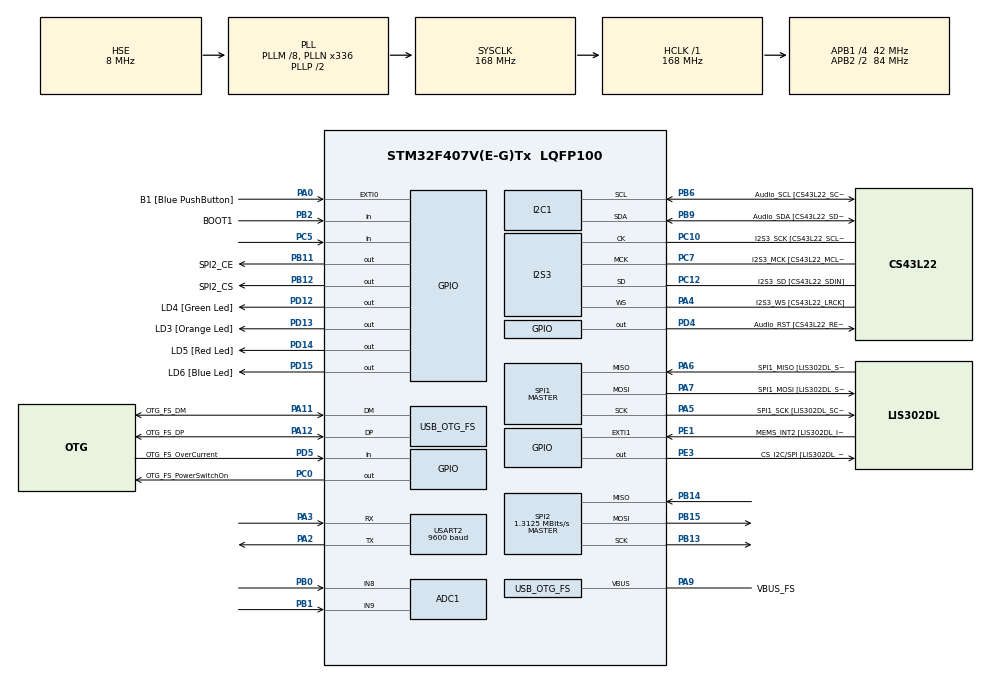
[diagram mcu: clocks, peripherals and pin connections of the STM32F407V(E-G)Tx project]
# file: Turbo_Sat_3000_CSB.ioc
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ADC1.Channel-0\#ChannelRegularConversion=ADC_CHANNEL_9
ADC1.NbrOfConversionFlag=1
ADC1.Rank-0\#ChannelRegularConversion=1
ADC1.SamplingTime-0\#ChannelRegularConversion=ADC_SAMPLETIME_3CYCLES
ADC1.master=1
ADC2.Channel-0\#ChannelRegularConversion=ADC_CHANNEL_8
ADC2.NbrOfConversionFlag=1
ADC2.Rank-0\#ChannelRegularConversion=1
ADC2.SamplingTime-0\#ChannelRegularConversion=ADC_SAMPLETIME_3CYCLES
FREERTOS.Tasks01=Task_Idle,-3,128,Idle_App,Default,NULL,Dynamic,NULL,NULL;Task_SPI_Rx,0,256,SPI_Rx_App,Default,NULL,Dynamic,NULL,NULL;Task_UART_Send,0,256,UART_Send_App,Default,NULL,Dynamic,NULL,NULL;Task_UART_Recie,1,128,UART_Recie_App,Default,NULL,Dynamic,NULL,NULL;Task_SPI_Tx,1,128,SPI_Tx_App,Default,NULL,Dynamic,NULL,NULL
FREERTOS.configUSE_NEWLIB_REENTRANT=1
I2S3.AudioFreq-Half_Duplex_Master=I2S_AUDIOFREQ_96K
I2S3.ErrorAudioFreq=-2.34 %
I2S3.ErrorAudioFreq-Half_Duplex_Master=0.8 %
I2S3.FullDuplexMode=I2S_FULLDUPLEXMODE_DISABLE
I2S3.Instance=SPI$Index
I2S3.RealAudioFreq=93.75 KHz
I2S3.RealAudioFreq-Half_Duplex_Master=96.774 KHz
I2S3.VirtualMode=I2S_MODE_MASTER
Mcu.Family=STM32F4
Mcu.Name=STM32F407V(E-G)Tx
Mcu.Package=LQFP100
NVIC.OTG_FS_IRQn=true\:5\:0\:false\:false\:true\:true\:true\:true\:true
NVIC.PriorityGroup=NVIC_PRIORITYGROUP_4
NVIC.TIM6_DAC_IRQn=true\:15\:0\:false\:false\:true\:false\:false\:true\:true
NVIC.TimeBase=TIM6_DAC_IRQn
NVIC.TimeBaseIP=TIM6
PA0-WKUP.GPIO_Label=B1 [Blue PushButton]
PA0-WKUP.GPIO_ModeDefaultEXTI=GPIO_MODE_EVT_RISING
PA0-WKUP.GPIO_PuPd=GPIO_NOPULL
PA0-WKUP.Signal=GPXTI0
PA10.GPIO_Label=OTG_FS_ID
PA10.GPIO_Mode=GPIO_MODE_AF_PP
PA10.GPIO_PuPd=GPIO_NOPULL
PA10.GPIO_Speed=GPIO_SPEED_FREQ_LOW
PA10.Signal=USB_OTG_FS_ID
PA11.GPIO_Label=OTG_FS_DM
PA11.GPIO_Mode=GPIO_MODE_AF_PP
PA11.GPIO_PuPd=GPIO_NOPULL
PA11.GPIO_Speed=GPIO_SPEED_FREQ_LOW
PA11.Mode=Host_Only
PA11.Signal=USB_OTG_FS_DM
PA12.GPIO_Label=OTG_FS_DP
PA12.GPIO_Mode=GPIO_MODE_AF_PP
PA12.GPIO_PuPd=GPIO_NOPULL
PA12.GPIO_Speed=GPIO_SPEED_FREQ_LOW
PA12.Mode=Host_Only
PA12.Signal=USB_OTG_FS_DP
PA13.GPIO_Label=SWDIO
PA13.Mode=Serial_Wire
PA13.Signal=SYS_JTMS-SWDIO
PA14.GPIO_Label=SWCLK
PA14.Mode=Serial_Wire
PA14.Signal=SYS_JTCK-SWCLK
PA2.Mode=Asynchronous
PA2.Signal=USART2_TX
PA3.Mode=Asynchronous
PA3.Signal=USART2_RX
PA4.GPIO_Label=I2S3_WS [CS43L22_LRCK]
PA4.GPIO_Mode=GPIO_MODE_AF_PP
PA4.GPIO_PuPd=GPIO_NOPULL
PA4.GPIO_Speed=GPIO_SPEED_FREQ_LOW
PA4.Mode=Half_Duplex_Master
PA4.Signal=I2S3_WS
PA5.GPIO_Label=SPI1_SCK [LIS302DL_SCL/SPC]
PA5.GPIO_Mode=GPIO_MODE_AF_PP
PA5.GPIO_PuPd=GPIO_NOPULL
PA5.GPIO_Speed=GPIO_SPEED_FREQ_LOW
PA5.Mode=Full_Duplex_Master
PA5.Signal=SPI1_SCK
PA6.GPIO_Label=SPI1_MISO [LIS302DL_SDO]
PA6.GPIO_Mode=GPIO_MODE_AF_PP
PA6.GPIO_PuPd=GPIO_NOPULL
PA6.GPIO_Speed=GPIO_SPEED_FREQ_LOW
PA6.Mode=Full_Duplex_Master
PA6.Signal=SPI1_MISO
PA7.GPIO_Label=SPI1_MOSI [LIS302DL_SDA/SDI/SDO]
PA7.GPIO_Mode=GPIO_MODE_AF_PP
PA7.GPIO_PuPd=GPIO_NOPULL
PA7.GPIO_Speed=GPIO_SPEED_FREQ_LOW
PA7.Mode=Full_Duplex_Master
PA7.Signal=SPI1_MOSI
PA9.GPIO_Label=VBUS_FS
PA9.GPIO_Mode=GPIO_MODE_INPUT
PA9.GPIO_PuPd=GPIO_NOPULL
PA9.Mode=Activate_VBUS
PA9.Signal=USB_OTG_FS_VBUS
PB0.Signal=SharedAnalog_PB0
PB1.Signal=SharedAnalog_PB1
PB10.GPIO_Label=CLK_IN [MP45DT02_CLK]
PB10.GPIO_Mode=GPIO_MODE_AF_PP
PB10.GPIO_PuPd=GPIO_NOPULL
PB10.GPIO_Speed=GPIO_SPEED_FREQ_LOW
PB10.Signal=I2S2_CK
PB11.GPIO_Label=SPI2_CE
PB11.Signal=GPIO_Output
PB12.GPIO_Label=SPI2_CS
PB12.Signal=GPIO_Output
PB13.Mode=Full_Duplex_Master
PB13.Signal=SPI2_SCK
PB14.Mode=Full_Duplex_Master
PB14.Signal=SPI2_MISO
PB15.Mode=Full_Duplex_Master
PB15.Signal=SPI2_MOSI
PB2.GPIO_Label=BOOT1
PB2.GPIO_Mode=GPIO_MODE_INPUT
PB2.GPIO_PuPd=GPIO_NOPULL
PB2.Signal=GPIO_Input
PB3.GPIO_Label=SWO
PB3.Signal=SYS_JTDO-SWO
PB6.GPIO_Label=Audio_SCL [CS43L22_SCL]
PB6.GPIO_Mode=GPIO_MODE_AF_OD
PB6.GPIO_Pu=GPIO_PULLUP
PB6.GPIO_PuPd=GPIO_NOPULL
PB6.GPIO_Speed=GPIO_SPEED_FREQ_LOW
PB6.Mode=I2C
PB6.Signal=I2C1_SCL
PB9.GPIO_Label=Audio_SDA [CS43L22_SDA]
PB9.GPIO_Mode=GPIO_MODE_AF_OD
PB9.GPIO_Pu=GPIO_PULLUP
PB9.GPIO_PuPd=GPIO_NOPULL
PB9.GPIO_Speed=GPIO_SPEED_FREQ_LOW
PB9.Mode=I2C
PB9.Signal=I2C1_SDA
PC0.GPIO_Label=OTG_FS_PowerSwitchOn
PC0.GPIO_PuPd=GPIO_NOPULL
PC0.GPIO_Speed=GPIO_SPEED_FREQ_LOW
PC0.PinState=GPIO_PIN_SET
PC0.Signal=GPIO_Output
PC10.GPIO_Label=I2S3_SCK [CS43L22_SCLK]
PC10.GPIO_Mode=GPIO_MODE_AF_PP
PC10.GPIO_PuPd=GPIO_NOPULL
PC10.GPIO_Speed=GPIO_SPEED_FREQ_LOW
PC10.Mode=Half_Duplex_Master
PC10.Signal=I2S3_CK
PC12.GPIO_Label=I2S3_SD [CS43L22_SDIN]
PC12.GPIO_Mode=GPIO_MODE_AF_PP
PC12.GPIO_PuPd=GPIO_NOPULL
PC12.GPIO_Speed=GPIO_SPEED_FREQ_LOW
PC12.Mode=Half_Duplex_Master
PC12.Signal=I2S3_SD
PC14-OSC32_IN.GPIO_Label=PC14-OSC32_IN
PC14-OSC32_IN.Mode=LSE-External-Oscillator
PC14-OSC32_IN.Signal=RCC_OSC32_IN
PC15-OSC32_OUT.GPIO_Label=PC15-OSC32_OUT
PC15-OSC32_OUT.Mode=LSE-External-Oscillator
PC15-OSC32_OUT.Signal=RCC_OSC32_OUT
PC3.GPIO_Label=PDM_OUT [MP45DT02_DOUT]
PC3.GPIO_Mode=GPIO_MODE_AF_PP
PC3.GPIO_PuPd=GPIO_NOPULL
PC3.GPIO_Speed=GPIO_SPEED_FREQ_LOW
PC3.Signal=I2S2_SD
PC5.Signal=GPIO_Input
PC7.GPIO_Label=I2S3_MCK [CS43L22_MCLK]
PC7.GPIO_Mode=GPIO_MODE_AF_PP
PC7.GPIO_PuPd=GPIO_NOPULL
PC7.GPIO_Speed=GPIO_SPEED_FREQ_LOW
PC7.Mode=Master_Clock_Activated
PC7.Signal=I2S3_MCK
PD12.GPIO_Label=LD4 [Green Led]
PD12.GPIO_PuPd=GPIO_NOPULL
PD12.GPIO_Speed=GPIO_SPEED_FREQ_LOW
PD12.Signal=GPIO_Output
PD13.GPIO_Label=LD3 [Orange Led]
PD13.GPIO_PuPd=GPIO_NOPULL
PD13.GPIO_Speed=GPIO_SPEED_FREQ_LOW
PD13.Signal=GPIO_Output
PD14.GPIO_Label=LD5 [Red Led]
PD14.GPIO_PuPd=GPIO_NOPULL
PD14.GPIO_Speed=GPIO_SPEED_FREQ_LOW
PD14.Signal=GPIO_Output
PD15.GPIO_Label=LD6 [Blue Led]
PD15.GPIO_PuPd=GPIO_NOPULL
PD15.GPIO_Speed=GPIO_SPEED_FREQ_LOW
PD15.Signal=GPIO_Output
PD4.GPIO_Label=Audio_RST [CS43L22_RESET]
PD4.GPIO_PuPd=GPIO_NOPULL
PD4.GPIO_Speed=GPIO_SPEED_FREQ_LOW
PD4.Signal=GPIO_Output
PD5.GPIO_Label=OTG_FS_OverCurrent
PD5.GPIO_Mode=GPIO_MODE_INPUT
PD5.GPIO_PuPd=GPIO_NOPULL
PD5.Signal=GPIO_Input
PE1.GPIO_Label=MEMS_INT2 [LIS302DL_INT2]
PE1.GPIO_ModeDefaultEXTI=GPIO_MODE_EVT_RISING
PE1.GPIO_PuPd=GPIO_NOPULL
PE1.Signal=GPXTI1
PE3.GPIO_Label=CS_I2C/SPI [LIS302DL_CS_I2C/SPI]
PE3.GPIO_PuPd=GPIO_NOPULL
PE3.GPIO_Speed=GPIO_SPEED_FREQ_LOW
PE3.Signal=GPIO_Output
PH0-OSC_IN.GPIO_Label=PH0-OSC_IN
PH0-OSC_IN.Mode=HSE-External-Oscillator
PH0-OSC_IN.Signal=RCC_OSC_IN
PH1-OSC_OUT.GPIO_Label=PH1-OSC_OUT
PH1-OSC_OUT.Mode=HSE-External-Oscillator
PH1-OSC_OUT.Signal=RCC_OSC_OUT
ProjectManager.HeapSize=0x200
ProjectManager.StackSize=0x400
ProjectManager.TargetToolchain=STM32CubeIDE
RCC.48MHZClocksFreq_Value=48000000
RCC.AHBFreq_Value=168000000
RCC.APB1CLKDivider=RCC_HCLK_DIV4
RCC.APB1Freq_Value=42000000
RCC.APB1TimFreq_Value=84000000
RCC.APB2CLKDivider=RCC_HCLK_DIV2
RCC.APB2Freq_Value=84000000
RCC.APB2TimFreq_Value=168000000
RCC.CortexFreq_Value=168000000
RCC.HCLKFreq_Value=168000000
RCC.HSE_VALUE=8000000
RCC.HSI_VALUE=16000000
RCC.PLLM=8
RCC.PLLN=336
RCC.PLLQ=7
RCC.SYSCLKFreq_VALUE=168000000
RCC.SYSCLKSource=RCC_SYSCLKSOURCE_PLLCLK
RCC.VCOOutputFreq_Value=336000000
SH.SharedAnalog_PB0.0=GPIO_Analog
SH.SharedAnalog_PB0.1=ADC1_IN8,IN8
SH.SharedAnalog_PB0.2=ADC2_IN8,IN8
SH.SharedAnalog_PB1.0=GPIO_Analog
SH.SharedAnalog_PB1.1=ADC1_IN9,IN9
SPI1.BaudRatePrescaler-Full_Duplex_Master=SPI_BAUDRATEPRESCALER_2
SPI1.CalculateBaudRate-Full_Duplex_Master=42.0 MBits/s
SPI1.Direction=SPI_DIRECTION_2LINES
SPI1.Mode=SPI_MODE_MASTER
SPI1.Mode-Full_Duplex_Master=SPI_MODE_MASTER
SPI1.VirtualType=VM_MASTER
SPI2.BaudRatePrescaler=SPI_BAUDRATEPRESCALER_32
SPI2.CalculateBaudRate=1.3125 MBits/s
SPI2.Direction=SPI_DIRECTION_2LINES
SPI2.Mode=SPI_MODE_MASTER
SPI2.VirtualType=VM_MASTER
USART2.BaudRate=9600
USART2.VirtualMode=VM_ASYNC
USB_HOST.BSP.number=1
USB_HOST.USBH_HandleTypeDef-CDC_FS=hUsbHostFS
USB_HOST.VirtualModeFS=Cdc
USB_HOST0.BSP.STBoard=false
USB_HOST0.BSP.api=Unknown
USB_HOST0.BSP.instance=PC0
USB_HOST0.BSP.ip=GPIO
USB_HOST0.BSP.mode=Output
USB_HOST0.BSP.name=Drive_VBUS_FS
USB_HOST0.BSP.solution=PC0
USB_OTG_FS.VirtualMode=Host_Only
USB_OTG_FS.phy_itface=HCD_PHY_EMBEDDED
VP_FREERTOS_VS_CMSIS_V1.Mode=CMSIS_V1
VP_SYS_VS_tim6.Mode=TIM6
VP_USB_HOST_VS_USB_HOST_CDC_FS.Mode=CDC_FS
board=STM32F407G-DISC1

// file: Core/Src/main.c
	/* USER CODE BEGIN Header */
/**
  ******************************************************************************
  * @file           : main.c
  * @brief          : Main program body
  ******************************************************************************
  * @attention
  *
  * Copyright (c) 2022 STMicroelectronics.
  * All rights reserved.
  *
  * This software is licensed under terms that can be found in the LICENSE file
  * in the root directory of this software component.
  * If no LICENSE file comes with this software, it is provided AS-IS.
  *
  ******************************************************************************
  */
/* USER CODE END Header */
#include "main.h"
#include "cmsis_os.h"
#include "usb_host.h"

/* USER CODE BEGIN Includes */
#include "nrf24l01.h"
#include "file.h"
/* USER CODE END Includes */

ADC_HandleTypeDef hadc1;
ADC_HandleTypeDef hadc2;

I2C_HandleTypeDef hi2c1;

I2S_HandleTypeDef hi2s3;

SPI_HandleTypeDef hspi1;
SPI_HandleTypeDef hspi2;

UART_HandleTypeDef huart2;

osThreadId Task_IdleHandle;
osThreadId Task_SPI_RxHandle;
osThreadId Task_UART_SendHandle;
osThreadId Task_UART_RecieHandle;
osThreadId Task_SPI_TxHandle;

void SystemClock_Config(void);
static void MX_GPIO_Init(void);
static void MX_I2C1_Init(void);
static void MX_I2S3_Init(void);
static void MX_SPI1_Init(void);
static void MX_ADC1_Init(void);
static void MX_SPI2_Init(void);
static void MX_USART2_UART_Init(void);
static void MX_ADC2_Init(void);
void Idle_App(void const * argument);
void SPI_Rx_App(void const * argument);
void UART_Send_App(void const * argument);
void UART_Recie_App(void const * argument);
void SPI_Tx_App(void const * argument);

/* USER CODE BEGIN 0 */
uint8_t UART_STATUS=1;
uint8_t Address[]={0xEE, 0xDD, 0xCC, 0xBB, 0xAA};
uint8_t data[32]="hello world";
uint8_t SPI_Buffer[32];
uint8_t UART_Buffer[32];
uint8_t init = 1;

typedef enum
{
	RX,
	TX,
	OFF
}etat_e;

etat_e SPI_Mode=OFF;
etat_e UART_Mode=TX;
/* USER CODE END 0 */

int main(void)
{

  /* MCU Configuration--------------------------------------------------------*/

  /* Reset of all peripherals, Initializes the Flash interface and the Systick. */
  HAL_Init();

  /* Configure the system clock */
  SystemClock_Config();

  /* Initialize all configured peripherals */
  MX_GPIO_Init();
  MX_I2C1_Init();
  MX_I2S3_Init();
  MX_SPI1_Init();
  MX_ADC1_Init();
  MX_SPI2_Init();
  MX_USART2_UART_Init();
  MX_ADC2_Init();
  /* USER CODE BEGIN 2 */
  nrf24_Init();
  ajoute(data);
  /* USER CODE END 2 */

  /* Create the thread(s) */
  /* definition and creation of Task_Idle */
  osThreadDef(Task_Idle, Idle_App, osPriorityIdle, 0, 128);
  Task_IdleHandle = osThreadCreate(osThread(Task_Idle), NULL);

  /* definition and creation of Task_SPI_Rx */
  osThreadDef(Task_SPI_Rx, SPI_Rx_App, osPriorityNormal, 0, 256);
  Task_SPI_RxHandle = osThreadCreate(osThread(Task_SPI_Rx), NULL);

  /* definition and creation of Task_UART_Send */
  osThreadDef(Task_UART_Send, UART_Send_App, osPriorityNormal, 0, 256);
  Task_UART_SendHandle = osThreadCreate(osThread(Task_UART_Send), NULL);

  /* definition and creation of Task_UART_Recie */
  osThreadDef(Task_UART_Recie, UART_Recie_App, osPriorityAboveNormal, 0, 128);
  Task_UART_RecieHandle = osThreadCreate(osThread(Task_UART_Recie), NULL);

  /* definition and creation of Task_SPI_Tx */
  osThreadDef(Task_SPI_Tx, SPI_Tx_App, osPriorityAboveNormal, 0, 128);
  Task_SPI_TxHandle = osThreadCreate(osThread(Task_SPI_Tx), NULL);

  /* Start scheduler */
  osKernelStart();

  /* We should never get here as control is now taken by the scheduler */
  /* Infinite loop */
  while (1)
  {

  }
}

void SystemClock_Config(void)
{
  RCC_OscInitTypeDef RCC_OscInitStruct = {0};
  RCC_ClkInitTypeDef RCC_ClkInitStruct = {0};

  /** Configure the main internal regulator output voltage
  */
  __HAL_RCC_PWR_CLK_ENABLE();
  __HAL_PWR_VOLTAGESCALING_CONFIG(PWR_REGULATOR_VOLTAGE_SCALE1);

  /** Initializes the RCC Oscillators according to the specified parameters
  * in the RCC_OscInitTypeDef structure.
  */
  RCC_OscInitStruct.OscillatorType = RCC_OSCILLATORTYPE_HSE;
  RCC_OscInitStruct.HSEState = RCC_HSE_ON;
  RCC_OscInitStruct.PLL.PLLState = RCC_PLL_ON;
  RCC_OscInitStruct.PLL.PLLSource = RCC_PLLSOURCE_HSE;
  RCC_OscInitStruct.PLL.PLLM = 8;
  RCC_OscInitStruct.PLL.PLLN = 336;
  RCC_OscInitStruct.PLL.PLLP = RCC_PLLP_DIV2;
  RCC_OscInitStruct.PLL.PLLQ = 7;
  if (HAL_RCC_OscConfig(&RCC_OscInitStruct) != HAL_OK)
  {
    Error_Handler();
  }

  /** Initializes the CPU, AHB and APB buses clocks
  */
  RCC_ClkInitStruct.ClockType = RCC_CLOCKTYPE_HCLK|RCC_CLOCKTYPE_SYSCLK
                              |RCC_CLOCKTYPE_PCLK1|RCC_CLOCKTYPE_PCLK2;
  RCC_ClkInitStruct.SYSCLKSource = RCC_SYSCLKSOURCE_PLLCLK;
  RCC_ClkInitStruct.AHBCLKDivider = RCC_SYSCLK_DIV1;
  RCC_ClkInitStruct.APB1CLKDivider = RCC_HCLK_DIV4;
  RCC_ClkInitStruct.APB2CLKDivider = RCC_HCLK_DIV2;

  if (HAL_RCC_ClockConfig(&RCC_ClkInitStruct, FLASH_LATENCY_5) != HAL_OK)
  {
    Error_Handler();
  }
}

static void MX_ADC1_Init(void)
{

  ADC_ChannelConfTypeDef sConfig = {0};

  /** Configure the global features of the ADC (Clock, Resolution, Data Alignment and number of conversion)
  */
  hadc1.Instance = ADC1;
  hadc1.Init.ClockPrescaler = ADC_CLOCK_SYNC_PCLK_DIV4;
  hadc1.Init.Resolution = ADC_RESOLUTION_12B;
  hadc1.Init.ScanConvMode = DISABLE;
  hadc1.Init.ContinuousConvMode = DISABLE;
  hadc1.Init.DiscontinuousConvMode = DISABLE;
  hadc1.Init.ExternalTrigConvEdge = ADC_EXTERNALTRIGCONVEDGE_NONE;
  hadc1.Init.ExternalTrigConv = ADC_SOFTWARE_START;
  hadc1.Init.DataAlign = ADC_DATAALIGN_RIGHT;
  hadc1.Init.NbrOfConversion = 1;
  hadc1.Init.DMAContinuousRequests = DISABLE;
  hadc1.Init.EOCSelection = ADC_EOC_SINGLE_CONV;
  if (HAL_ADC_Init(&hadc1) != HAL_OK)
  {
    Error_Handler();
  }

  /** Configure for the selected ADC regular channel its corresponding rank in the sequencer and its sample time.
  */
  sConfig.Channel = ADC_CHANNEL_9;
  sConfig.Rank = 1;
  sConfig.SamplingTime = ADC_SAMPLETIME_3CYCLES;
  if (HAL_ADC_ConfigChannel(&hadc1, &sConfig) != HAL_OK)
  {
    Error_Handler();
  }

}

static void MX_ADC2_Init(void)
{

  ADC_ChannelConfTypeDef sConfig = {0};

  /** Configure the global features of the ADC (Clock, Resolution, Data Alignment and number of conversion)
  */
  hadc2.Instance = ADC2;
  hadc2.Init.ClockPrescaler = ADC_CLOCK_SYNC_PCLK_DIV4;
  hadc2.Init.Resolution = ADC_RESOLUTION_12B;
  hadc2.Init.ScanConvMode = DISABLE;
  hadc2.Init.ContinuousConvMode = DISABLE;
  hadc2.Init.DiscontinuousConvMode = DISABLE;
  hadc2.Init.ExternalTrigConvEdge = ADC_EXTERNALTRIGCONVEDGE_NONE;
  hadc2.Init.ExternalTrigConv = ADC_SOFTWARE_START;
  hadc2.Init.DataAlign = ADC_DATAALIGN_RIGHT;
  hadc2.Init.NbrOfConversion = 1;
  hadc2.Init.DMAContinuousRequests = DISABLE;
  hadc2.Init.EOCSelection = ADC_EOC_SINGLE_CONV;
  if (HAL_ADC_Init(&hadc2) != HAL_OK)
  {
    Error_Handler();
  }

  /** Configure for the selected ADC regular channel its corresponding rank in the sequencer and its sample time.
  */
  sConfig.Channel = ADC_CHANNEL_8;
  sConfig.Rank = 1;
  sConfig.SamplingTime = ADC_SAMPLETIME_3CYCLES;
  if (HAL_ADC_ConfigChannel(&hadc2, &sConfig) != HAL_OK)
  {
    Error_Handler();
  }

}

static void MX_I2C1_Init(void)
{

  hi2c1.Instance = I2C1;
  hi2c1.Init.ClockSpeed = 100000;
  hi2c1.Init.DutyCycle = I2C_DUTYCYCLE_2;
  hi2c1.Init.OwnAddress1 = 0;
  hi2c1.Init.AddressingMode = I2C_ADDRESSINGMODE_7BIT;
  hi2c1.Init.DualAddressMode = I2C_DUALADDRESS_DISABLE;
  hi2c1.Init.OwnAddress2 = 0;
  hi2c1.Init.GeneralCallMode = I2C_GENERALCALL_DISABLE;
  hi2c1.Init.NoStretchMode = I2C_NOSTRETCH_DISABLE;
  if (HAL_I2C_Init(&hi2c1) != HAL_OK)
  {
    Error_Handler();
  }

}

static void MX_I2S3_Init(void)
{

  hi2s3.Instance = SPI3;
  hi2s3.Init.Mode = I2S_MODE_MASTER_TX;
  hi2s3.Init.Standard = I2S_STANDARD_PHILIPS;
  hi2s3.Init.DataFormat = I2S_DATAFORMAT_16B;
  hi2s3.Init.MCLKOutput = I2S_MCLKOUTPUT_ENABLE;
  hi2s3.Init.AudioFreq = I2S_AUDIOFREQ_96K;
  hi2s3.Init.CPOL = I2S_CPOL_LOW;
  hi2s3.Init.ClockSource = I2S_CLOCK_PLL;
  hi2s3.Init.FullDuplexMode = I2S_FULLDUPLEXMODE_DISABLE;
  if (HAL_I2S_Init(&hi2s3) != HAL_OK)
  {
    Error_Handler();
  }

}

static void MX_SPI1_Init(void)
{

  /* SPI1 parameter configuration*/
  hspi1.Instance = SPI1;
  hspi1.Init.Mode = SPI_MODE_MASTER;
  hspi1.Init.Direction = SPI_DIRECTION_2LINES;
  hspi1.Init.DataSize = SPI_DATASIZE_8BIT;
  hspi1.Init.CLKPolarity = SPI_POLARITY_LOW;
  hspi1.Init.CLKPhase = SPI_PHASE_1EDGE;
  hspi1.Init.NSS = SPI_NSS_SOFT;
  hspi1.Init.BaudRatePrescaler = SPI_BAUDRATEPRESCALER_2;
  hspi1.Init.FirstBit = SPI_FIRSTBIT_MSB;
  hspi1.Init.TIMode = SPI_TIMODE_DISABLE;
  hspi1.Init.CRCCalculation = SPI_CRCCALCULATION_DISABLE;
  hspi1.Init.CRCPolynomial = 10;
  if (HAL_SPI_Init(&hspi1) != HAL_OK)
  {
    Error_Handler();
  }

}

static void MX_SPI2_Init(void)
{

  /* SPI2 parameter configuration*/
  hspi2.Instance = SPI2;
  hspi2.Init.Mode = SPI_MODE_MASTER;
  hspi2.Init.Direction = SPI_DIRECTION_2LINES;
  hspi2.Init.DataSize = SPI_DATASIZE_8BIT;
  hspi2.Init.CLKPolarity = SPI_POLARITY_LOW;
  hspi2.Init.CLKPhase = SPI_PHASE_1EDGE;
  hspi2.Init.NSS = SPI_NSS_SOFT;
  hspi2.Init.BaudRatePrescaler = SPI_BAUDRATEPRESCALER_32;
  hspi2.Init.FirstBit = SPI_FIRSTBIT_MSB;
  hspi2.Init.TIMode = SPI_TIMODE_DISABLE;
  hspi2.Init.CRCCalculation = SPI_CRCCALCULATION_DISABLE;
  hspi2.Init.CRCPolynomial = 10;
  if (HAL_SPI_Init(&hspi2) != HAL_OK)
  {
    Error_Handler();
  }

}

static void MX_USART2_UART_Init(void)
{

  huart2.Instance = USART2;
  huart2.Init.BaudRate = 9600;
  huart2.Init.WordLength = UART_WORDLENGTH_8B;
  huart2.Init.StopBits = UART_STOPBITS_1;
  huart2.Init.Parity = UART_PARITY_NONE;
  huart2.Init.Mode = UART_MODE_TX_RX;
  huart2.Init.HwFlowCtl = UART_HWCONTROL_NONE;
  huart2.Init.OverSampling = UART_OVERSAMPLING_16;
  if (HAL_UART_Init(&huart2) != HAL_OK)
  {
    Error_Handler();
  }

}

static void MX_GPIO_Init(void)
{
  GPIO_InitTypeDef GPIO_InitStruct = {0};

  /* GPIO Ports Clock Enable */
  __HAL_RCC_GPIOE_CLK_ENABLE();
  __HAL_RCC_GPIOC_CLK_ENABLE();
  __HAL_RCC_GPIOH_CLK_ENABLE();
  __HAL_RCC_GPIOA_CLK_ENABLE();
  __HAL_RCC_GPIOB_CLK_ENABLE();
  __HAL_RCC_GPIOD_CLK_ENABLE();

  /*Configure GPIO pin Output Level */
  HAL_GPIO_WritePin(CS_I2C_SPI_GPIO_Port, CS_I2C_SPI_Pin, GPIO_PIN_RESET);

  /*Configure GPIO pin Output Level */
  HAL_GPIO_WritePin(OTG_FS_PowerSwitchOn_GPIO_Port, OTG_FS_PowerSwitchOn_Pin, GPIO_PIN_SET);

  /*Configure GPIO pin Output Level */
  HAL_GPIO_WritePin(GPIOB, SPI2_CE_Pin|SPI2_CS_Pin, GPIO_PIN_RESET);

  /*Configure GPIO pin Output Level */
  HAL_GPIO_WritePin(GPIOD, LD4_Pin|LD3_Pin|LD5_Pin|LD6_Pin
                          |Audio_RST_Pin, GPIO_PIN_RESET);

  /*Configure GPIO pin : CS_I2C_SPI_Pin */
  GPIO_InitStruct.Pin = CS_I2C_SPI_Pin;
  GPIO_InitStruct.Mode = GPIO_MODE_OUTPUT_PP;
  GPIO_InitStruct.Pull = GPIO_NOPULL;
  GPIO_InitStruct.Speed = GPIO_SPEED_FREQ_LOW;
  HAL_GPIO_Init(CS_I2C_SPI_GPIO_Port, &GPIO_InitStruct);

  /*Configure GPIO pin : OTG_FS_PowerSwitchOn_Pin */
  GPIO_InitStruct.Pin = OTG_FS_PowerSwitchOn_Pin;
  GPIO_InitStruct.Mode = GPIO_MODE_OUTPUT_PP;
  GPIO_InitStruct.Pull = GPIO_NOPULL;
  GPIO_InitStruct.Speed = GPIO_SPEED_FREQ_LOW;
  HAL_GPIO_Init(OTG_FS_PowerSwitchOn_GPIO_Port, &GPIO_InitStruct);

  /*Configure GPIO pin : PDM_OUT_Pin */
  GPIO_InitStruct.Pin = PDM_OUT_Pin;
  GPIO_InitStruct.Mode = GPIO_MODE_AF_PP;
  GPIO_InitStruct.Pull = GPIO_NOPULL;
  GPIO_InitStruct.Speed = GPIO_SPEED_FREQ_LOW;
  GPIO_InitStruct.Alternate = GPIO_AF5_SPI2;
  HAL_GPIO_Init(PDM_OUT_GPIO_Port, &GPIO_InitStruct);

  /*Configure GPIO pin : B1_Pin */
  GPIO_InitStruct.Pin = B1_Pin;
  GPIO_InitStruct.Mode = GPIO_MODE_EVT_RISING;
  GPIO_InitStruct.Pull = GPIO_NOPULL;
  HAL_GPIO_Init(B1_GPIO_Port, &GPIO_InitStruct);

  /*Configure GPIO pin : PC5 */
  GPIO_InitStruct.Pin = GPIO_PIN_5;
  GPIO_InitStruct.Mode = GPIO_MODE_INPUT;
  GPIO_InitStruct.Pull = GPIO_NOPULL;
  HAL_GPIO_Init(GPIOC, &GPIO_InitStruct);

  /*Configure GPIO pin : BOOT1_Pin */
  GPIO_InitStruct.Pin = BOOT1_Pin;
  GPIO_InitStruct.Mode = GPIO_MODE_INPUT;
  GPIO_InitStruct.Pull = GPIO_NOPULL;
  HAL_GPIO_Init(BOOT1_GPIO_Port, &GPIO_InitStruct);

  /*Configure GPIO pin : CLK_IN_Pin */
  GPIO_InitStruct.Pin = CLK_IN_Pin;
  GPIO_InitStruct.Mode = GPIO_MODE_AF_PP;
  GPIO_InitStruct.Pull = GPIO_NOPULL;
  GPIO_InitStruct.Speed = GPIO_SPEED_FREQ_LOW;
  GPIO_InitStruct.Alternate = GPIO_AF5_SPI2;
  HAL_GPIO_Init(CLK_IN_GPIO_Port, &GPIO_InitStruct);

  /*Configure GPIO pins : SPI2_CE_Pin SPI2_CS_Pin */
  GPIO_InitStruct.Pin = SPI2_CE_Pin|SPI2_CS_Pin;
  GPIO_InitStruct.Mode = GPIO_MODE_OUTPUT_PP;
  GPIO_InitStruct.Pull = GPIO_NOPULL;
  GPIO_InitStruct.Speed = GPIO_SPEED_FREQ_LOW;
  HAL_GPIO_Init(GPIOB, &GPIO_InitStruct);

  /*Configure GPIO pins : LD4_Pin LD3_Pin LD5_Pin LD6_Pin
                           Audio_RST_Pin */
  GPIO_InitStruct.Pin = LD4_Pin|LD3_Pin|LD5_Pin|LD6_Pin
                          |Audio_RST_Pin;
  GPIO_InitStruct.Mode = GPIO_MODE_OUTPUT_PP;
  GPIO_InitStruct.Pull = GPIO_NOPULL;
  GPIO_InitStruct.Speed = GPIO_SPEED_FREQ_LOW;
  HAL_GPIO_Init(GPIOD, &GPIO_InitStruct);

  /*Configure GPIO pin : OTG_FS_OverCurrent_Pin */
  GPIO_InitStruct.Pin = OTG_FS_OverCurrent_Pin;
  GPIO_InitStruct.Mode = GPIO_MODE_INPUT;
  GPIO_InitStruct.Pull = GPIO_NOPULL;
  HAL_GPIO_Init(OTG_FS_OverCurrent_GPIO_Port, &GPIO_InitStruct);

  /*Configure GPIO pin : MEMS_INT2_Pin */
  GPIO_InitStruct.Pin = MEMS_INT2_Pin;
  GPIO_InitStruct.Mode = GPIO_MODE_EVT_RISING;
  GPIO_InitStruct.Pull = GPIO_NOPULL;
  HAL_GPIO_Init(MEMS_INT2_GPIO_Port, &GPIO_InitStruct);

}

void Idle_App(void const * argument)
{
  /* init code for USB_HOST */
  MX_USB_HOST_Init();
  for(;;)
  {
    osDelay(1);
  }
}

void SPI_Rx_App(void const * argument)
{
  /* USER CODE BEGIN SPI_Rx_App */
  /* Infinite loop */
  for(;;)
  {
	if(SPI_Mode==RX)
	{
		if(init==1)
		{
		nrf24_RxMode(Address, 10);
		init=0;
		}
		if(isDataAvailable(1))
		{
			nrf24_Receive(SPI_Buffer);
			ajoute(SPI_Buffer);
		}
	}
    vTaskDelay(10);
  }
  /* USER CODE END SPI_Rx_App */
}

void UART_Send_App(void const * argument)
{
  /* USER CODE BEGIN UART_Send_App */
  /* Infinite loop */
  for(;;)
  {
	if(UART_Mode==TX)
	{
		if(fileDataAvailable() == 1)
		{
			retire(UART_Buffer);
			HAL_UART_Transmit(&huart2, UART_Buffer, 32, 100);
			//UART_STATUS=0;
		}
	}
    vTaskDelay(100);
  }
  /* USER CODE END UART_Send_App */
}

void UART_Recie_App(void const * argument)
{
  /* USER CODE BEGIN UART_Recie_App */
  /* Infinite loop */
  for(;;)
  {
	vTaskDelay(10);
  }
  /* USER CODE END UART_Recie_App */
}

void SPI_Tx_App(void const * argument)
{
  /* USER CODE BEGIN SPI_Tx_App */
  /* Infinite loop */
  for(;;)
  {
	  if(SPI_Mode==TX)
	  {
		  if(init==1)
		  {
			  nrf24_TxMode(Address, 10);
			  init=0;
		  }
		  if(nrf24_Transmit(data)==1)
		  {
			  //indique que l'info s'est bien envoyИe
		  }
	  }
	  vTaskDelay(10);
  }
  /* USER CODE END SPI_Tx_App */
}

void HAL_TIM_PeriodElapsedCallback(TIM_HandleTypeDef *htim)
{
  if (htim->Instance == TIM6) {
    HAL_IncTick();
  }
}

void Error_Handler(void)
{
  __disable_irq();
  while (1)
  {
  }
}
